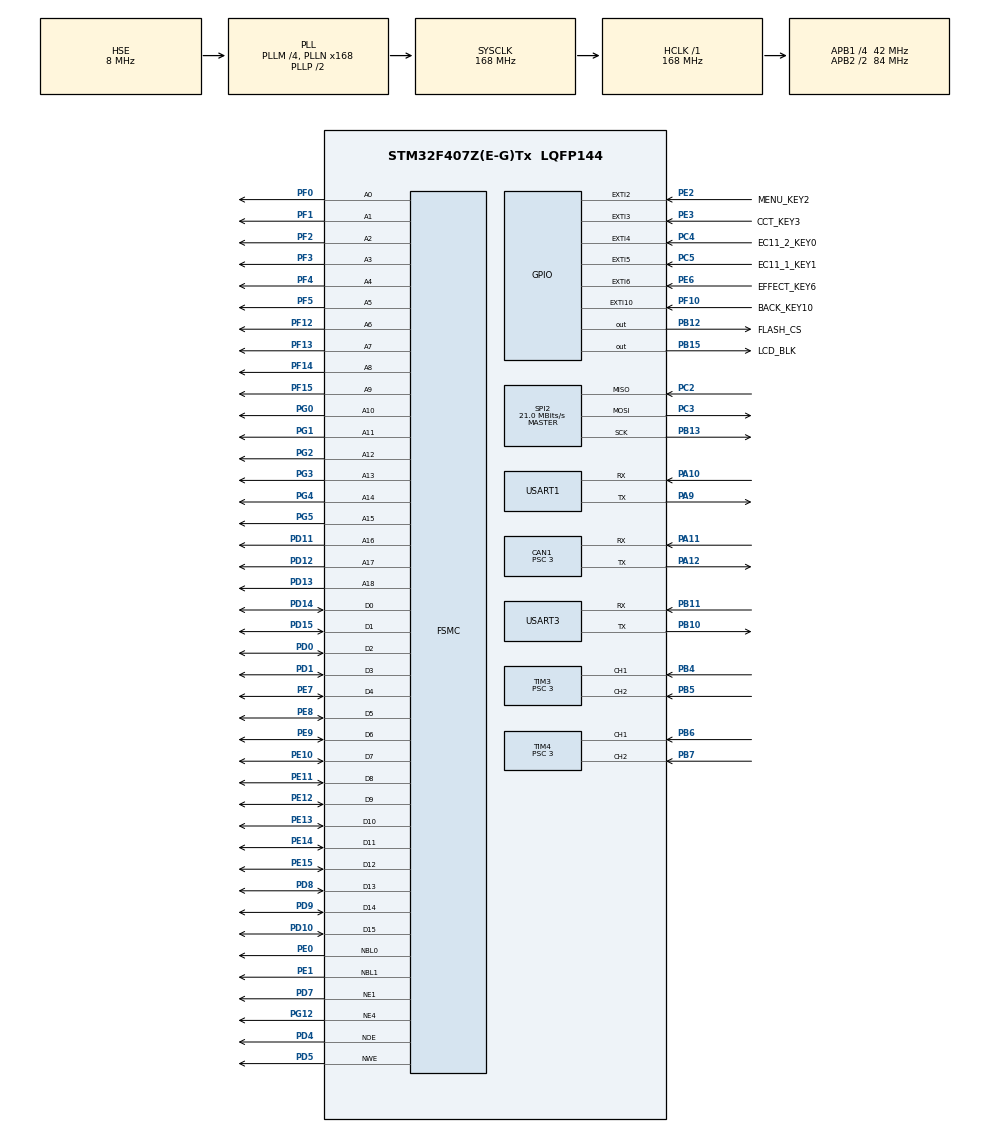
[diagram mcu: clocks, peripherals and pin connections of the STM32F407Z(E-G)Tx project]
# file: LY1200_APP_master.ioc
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CAN1.BS1=CAN_BS1_9TQ
CAN1.BS2=CAN_BS2_4TQ
CAN1.CalculateBaudRate=1000000
CAN1.CalculateTimeBit=1000
CAN1.CalculateTimeQuantum=71.42857142857143
CAN1.Mode=CAN_MODE_NORMAL
CAN1.Prescaler=3
Dma.Request0=USART3_RX
Dma.USART3_RX.0.Direction=DMA_PERIPH_TO_MEMORY
Dma.USART3_RX.0.FIFOMode=DMA_FIFOMODE_DISABLE
Dma.USART3_RX.0.Instance=DMA1_Stream1
Dma.USART3_RX.0.MemDataAlignment=DMA_MDATAALIGN_BYTE
Dma.USART3_RX.0.MemInc=DMA_MINC_ENABLE
Dma.USART3_RX.0.Mode=DMA_NORMAL
Dma.USART3_RX.0.PeriphDataAlignment=DMA_PDATAALIGN_BYTE
Dma.USART3_RX.0.PeriphInc=DMA_PINC_DISABLE
Dma.USART3_RX.0.Priority=DMA_PRIORITY_LOW
FREERTOS.Queues01=sysDataQueue_App,1,struct SYS_DATA,0,Dynamic,NULL,NULL;xQueueLCD,16,_st_lcd,0,Dynamic,NULL,NULL;boxInputQueue,2,struct BOX_INPUT,0,Dynamic,NULL,NULL
FREERTOS.Tasks01=defaultTask,32,128,StartDefaultTask,Default,NULL,Dynamic,NULL,NULL;cctTask,16,128,cctTask_Entry_App,Default,NULL,Dynamic,NULL,NULL;canTask,24,128,canTask_Entry,Default,NULL,Dynamic,NULL,NULL;lightEffectTask,16,128,lightEffectTask_Entry,Default,NULL,Dynamic,NULL,NULL;menuTask,16,256,menuTask_Entry,Default,NULL,Dynamic,NULL,NULL;GUI_Task,8,4096,TouchGFX_Task,As external,NULL,Dynamic,NULL,NULL;lcdTransferTask,16,256,lcdTransferTask_Entry,Default,NULL,Dynamic,NULL,NULL;inputTask,16,128,inputTask_Entry,Default,NULL,Dynamic,NULL,NULL;testTask,16,128,testTask_Entry,Default,NULL,Dynamic,NULL,NULL;wirelessTask,16,128,wirelessTask_Entry,Default,NULL,Dynamic,NULL,NULL
FREERTOS.configENABLE_FPU=1
FREERTOS.configTOTAL_HEAP_SIZE=65535
FREERTOS.configUSE_APPLICATION_TASK_TAG=1
FSMC.AddressSetupTime2=2
FSMC.BusTurnAroundDuration1=0
FSMC.BusTurnAroundDuration2=0
FSMC.DataSetupTime1=60
FSMC.DataSetupTime2=8
FSMC.ExtendedAddressSetupTime1=6
FSMC.ExtendedBusTurnAroundDuration1=0
FSMC.ExtendedDataSetupTime1=6
FSMC.ExtendedMode1=FSMC_EXTENDED_MODE_ENABLE
FSMC.ExtendedMode2=FSMC_EXTENDED_MODE_DISABLE
FSMC.WriteOperation2=FSMC_WRITE_OPERATION_ENABLE
Mcu.Family=STM32F4
Mcu.Name=STM32F407Z(E-G)Tx
Mcu.Package=LQFP144
NVIC.CAN1_RX0_IRQn=true\:5\:0\:true\:false\:true\:true\:true\:true\:true
NVIC.DMA1_Stream1_IRQn=true\:3\:0\:true\:false\:true\:false\:false\:true\:true
NVIC.EXTI15_10_IRQn=true\:6\:0\:true\:false\:true\:true\:true\:true\:true
NVIC.EXTI2_IRQn=true\:6\:0\:true\:false\:true\:true\:true\:true\:true
NVIC.EXTI3_IRQn=true\:6\:0\:true\:false\:true\:true\:true\:true\:true
NVIC.EXTI4_IRQn=true\:6\:0\:true\:false\:true\:true\:true\:true\:true
NVIC.EXTI9_5_IRQn=true\:6\:0\:true\:false\:true\:true\:true\:true\:true
NVIC.PriorityGroup=NVIC_PRIORITYGROUP_4
NVIC.RCC_IRQn=true\:5\:0\:false\:false\:true\:true\:true\:false\:true
NVIC.TIM2_IRQn=true\:5\:0\:false\:false\:true\:true\:true\:true\:true
NVIC.TIM3_IRQn=true\:5\:0\:false\:false\:true\:true\:true\:true\:true
NVIC.TIM4_IRQn=true\:5\:0\:false\:false\:true\:true\:true\:true\:true
NVIC.TIM8_TRG_COM_TIM14_IRQn=true\:15\:0\:false\:false\:true\:false\:false\:true\:true
NVIC.TimeBase=TIM8_TRG_COM_TIM14_IRQn
NVIC.TimeBaseIP=TIM14
NVIC.USART3_IRQn=true\:3\:0\:true\:false\:true\:false\:true\:true\:true
PA10.GPIO_PuPd=GPIO_PULLUP
PA10.Mode=Asynchronous
PA10.Signal=USART1_RX
PA11.Mode=CAN_Activate
PA11.Signal=CAN1_RX
PA12.Mode=CAN_Activate
PA12.Signal=CAN1_TX
PA13.Mode=Serial_Wire
PA13.Signal=SYS_JTMS-SWDIO
PA14.Mode=Serial_Wire
PA14.Signal=SYS_JTCK-SWCLK
PA9.GPIO_PuPd=GPIO_PULLUP
PA9.Mode=Asynchronous
PA9.Signal=USART1_TX
PB10.Mode=Asynchronous
PB10.Signal=USART3_TX
PB11.Mode=Asynchronous
PB11.Signal=USART3_RX
PB12.GPIO_Label=FLASH_CS
PB12.GPIO_ModeDefaultOutputPP=GPIO_MODE_OUTPUT_PP
PB12.GPIO_PuPd=GPIO_NOPULL
PB12.PinState=GPIO_PIN_SET
PB12.Signal=GPIO_Output
PB13.Mode=Full_Duplex_Master
PB13.Signal=SPI2_SCK
PB15.GPIO_Label=LCD_BLK
PB15.GPIO_ModeDefaultOutputPP=GPIO_MODE_OUTPUT_PP
PB15.GPIO_PuPd=GPIO_NOPULL
PB15.PinState=GPIO_PIN_RESET
PB15.Signal=GPIO_Output
PB4.Signal=S_TIM3_CH1
PB5.Signal=S_TIM3_CH2
PB6.GPIO_ModeDefaultPP=GPIO_MODE_AF_PP
PB6.GPIO_PuPd=GPIO_NOPULL
PB6.Signal=S_TIM4_CH1
PB7.GPIO_PuPd=GPIO_NOPULL
PB7.Signal=S_TIM4_CH2
PC14-OSC32_IN.Mode=LSE-External-Clock-Source
PC14-OSC32_IN.Signal=RCC_OSC32_IN
PC15-OSC32_OUT.Mode=LSE-External-Clock-Source
PC15-OSC32_OUT.Signal=RCC_OSC32_OUT
PC2.Mode=Full_Duplex_Master
PC2.Signal=SPI2_MISO
PC3.Mode=Full_Duplex_Master
PC3.Signal=SPI2_MOSI
PC4.GPIO_Label=EC11_2_KEY0
PC4.GPIO_ModeDefaultEXTI=GPIO_MODE_IT_FALLING
PC4.GPIO_PuPd=GPIO_PULLUP
PC4.Signal=GPXTI4
PC5.GPIO_Label=EC11_1_KEY1
PC5.GPIO_ModeDefaultEXTI=GPIO_MODE_IT_FALLING
PC5.GPIO_PuPd=GPIO_PULLUP
PC5.Signal=GPXTI5
PD0.Signal=FSMC_D2_DA2
PD1.Signal=FSMC_D3_DA3
PD10.Signal=FSMC_D15_DA15
PD11.Signal=FSMC_A16_CLE
PD12.Signal=FSMC_A17_ALE
PD13.Signal=FSMC_A18
PD14.Signal=FSMC_D0_DA0
PD15.Signal=FSMC_D1_DA1
PD4.Signal=FSMC_NOE
PD5.Signal=FSMC_NWE
PD7.Mode=NorPsramChipSelect1_2
PD7.Signal=FSMC_NE1
PD8.Signal=FSMC_D13_DA13
PD9.Signal=FSMC_D14_DA14
PE0.Signal=FSMC_NBL0
PE1.Signal=FSMC_NBL1
PE10.Signal=FSMC_D7_DA7
PE11.Signal=FSMC_D8_DA8
PE12.Signal=FSMC_D9_DA9
PE13.Signal=FSMC_D10_DA10
PE14.Signal=FSMC_D11_DA11
PE15.Signal=FSMC_D12_DA12
PE2.GPIO_Label=MENU_KEY2
PE2.GPIO_PuPd=GPIO_PULLUP
PE2.Signal=GPXTI2
PE3.GPIO_Label=CCT_KEY3
PE3.GPIO_PuPd=GPIO_PULLUP
PE3.Signal=GPXTI3
PE6.GPIO_Label=EFFECT_KEY6
PE6.GPIO_PuPd=GPIO_PULLUP
PE6.Signal=GPXTI6
PE7.Signal=FSMC_D4_DA4
PE8.Signal=FSMC_D5_DA5
PE9.Signal=FSMC_D6_DA6
PF0.Signal=FSMC_A0
PF1.Signal=FSMC_A1
PF10.GPIO_Label=BACK_KEY10
PF10.GPIO_PuPd=GPIO_PULLUP
PF10.Signal=GPXTI10
PF12.Signal=FSMC_A6
PF13.Signal=FSMC_A7
PF14.Signal=FSMC_A8
PF15.Signal=FSMC_A9
PF2.Signal=FSMC_A2
PF3.Signal=FSMC_A3
PF4.Signal=FSMC_A4
PF5.Signal=FSMC_A5
PG0.Signal=FSMC_A10
PG1.Signal=FSMC_A11
PG12.Mode=NorPsramChipSelect4_1
PG12.Signal=FSMC_NE4
PG2.Signal=FSMC_A12
PG3.Signal=FSMC_A13
PG4.Signal=FSMC_A14
PG5.Signal=FSMC_A15
PH0-OSC_IN.Mode=HSE-External-Oscillator
PH0-OSC_IN.Signal=RCC_OSC_IN
PH1-OSC_OUT.Mode=HSE-External-Oscillator
PH1-OSC_OUT.Signal=RCC_OSC_OUT
ProjectManager.HeapSize=0x1000
ProjectManager.StackSize=0x1000
ProjectManager.TargetToolchain=MDK-ARM V5.32
RCC.48MHZClocksFreq_Value=48000000
RCC.AHBFreq_Value=168000000
RCC.APB1CLKDivider=RCC_HCLK_DIV4
RCC.APB1Freq_Value=42000000
RCC.APB1TimFreq_Value=84000000
RCC.APB2CLKDivider=RCC_HCLK_DIV2
RCC.APB2Freq_Value=84000000
RCC.APB2TimFreq_Value=168000000
RCC.CortexFreq_Value=168000000
RCC.HCLKFreq_Value=168000000
RCC.HSE_VALUE=8000000
RCC.HSI_VALUE=16000000
RCC.LSE_VALUE=32768
RCC.PLLM=4
RCC.PLLN=168
RCC.PLLQ=7
RCC.PLLSourceVirtual=RCC_PLLSOURCE_HSE
RCC.SYSCLKFreq_VALUE=168000000
RCC.SYSCLKSource=RCC_SYSCLKSOURCE_PLLCLK
RCC.VCOOutputFreq_Value=336000000
SH.FSMC_A0.0=FSMC_A0,19b-a2
SH.FSMC_A1.0=FSMC_A1,19b-a2
SH.FSMC_A10.0=FSMC_A10,19b-a2
SH.FSMC_A11.0=FSMC_A11,19b-a2
SH.FSMC_A12.0=FSMC_A12,19b-a2
SH.FSMC_A13.0=FSMC_A13,19b-a2
SH.FSMC_A14.0=FSMC_A14,19b-a2
SH.FSMC_A15.0=FSMC_A15,19b-a2
SH.FSMC_A16_CLE.0=FSMC_A16,19b-a2
SH.FSMC_A17_ALE.0=FSMC_A17,19b-a2
SH.FSMC_A18.0=FSMC_A18,19b-a2
SH.FSMC_A2.0=FSMC_A2,19b-a2
SH.FSMC_A3.0=FSMC_A3,19b-a2
SH.FSMC_A4.0=FSMC_A4,19b-a2
SH.FSMC_A5.0=FSMC_A5,19b-a2
SH.FSMC_A6.0=FSMC_A6,A6_1
SH.FSMC_A6.1=FSMC_A6,19b-a2
SH.FSMC_A7.0=FSMC_A7,19b-a2
SH.FSMC_A8.0=FSMC_A8,19b-a2
SH.FSMC_A9.0=FSMC_A9,19b-a2
SH.FSMC_D0_DA0.0=FSMC_D0,16b-d1
SH.FSMC_D0_DA0.1=FSMC_D0,16b-d2
SH.FSMC_D10_DA10.0=FSMC_D10,16b-d1
SH.FSMC_D10_DA10.1=FSMC_D10,16b-d2
SH.FSMC_D11_DA11.0=FSMC_D11,16b-d1
SH.FSMC_D11_DA11.1=FSMC_D11,16b-d2
SH.FSMC_D12_DA12.0=FSMC_D12,16b-d1
SH.FSMC_D12_DA12.1=FSMC_D12,16b-d2
SH.FSMC_D13_DA13.0=FSMC_D13,16b-d1
SH.FSMC_D13_DA13.1=FSMC_D13,16b-d2
SH.FSMC_D14_DA14.0=FSMC_D14,16b-d1
SH.FSMC_D14_DA14.1=FSMC_D14,16b-d2
SH.FSMC_D15_DA15.0=FSMC_D15,16b-d1
SH.FSMC_D15_DA15.1=FSMC_D15,16b-d2
SH.FSMC_D1_DA1.0=FSMC_D1,16b-d1
SH.FSMC_D1_DA1.1=FSMC_D1,16b-d2
SH.FSMC_D2_DA2.0=FSMC_D2,16b-d1
SH.FSMC_D2_DA2.1=FSMC_D2,16b-d2
SH.FSMC_D3_DA3.0=FSMC_D3,16b-d1
SH.FSMC_D3_DA3.1=FSMC_D3,16b-d2
SH.FSMC_D4_DA4.0=FSMC_D4,16b-d1
SH.FSMC_D4_DA4.1=FSMC_D4,16b-d2
SH.FSMC_D5_DA5.0=FSMC_D5,16b-d1
SH.FSMC_D5_DA5.1=FSMC_D5,16b-d2
SH.FSMC_D6_DA6.0=FSMC_D6,16b-d1
SH.FSMC_D6_DA6.1=FSMC_D6,16b-d2
SH.FSMC_D7_DA7.0=FSMC_D7,16b-d1
SH.FSMC_D7_DA7.1=FSMC_D7,16b-d2
SH.FSMC_D8_DA8.0=FSMC_D8,16b-d1
SH.FSMC_D8_DA8.1=FSMC_D8,16b-d2
SH.FSMC_D9_DA9.0=FSMC_D9,16b-d1
SH.FSMC_D9_DA9.1=FSMC_D9,16b-d2
SH.FSMC_NBL0.0=FSMC_NBL0,2ByteEnable2
SH.FSMC_NBL1.0=FSMC_NBL1,2ByteEnable2
SH.FSMC_NOE.0=FSMC_NOE,Lcd1
SH.FSMC_NOE.1=FSMC_NOE,Sram2
SH.FSMC_NWE.0=FSMC_NWE,Lcd1
SH.FSMC_NWE.1=FSMC_NWE,Sram2
SH.S_TIM3_CH1.0=TIM3_CH1,Encoder_Interface
SH.S_TIM3_CH2.0=TIM3_CH2,Encoder_Interface
SH.S_TIM4_CH1.0=TIM4_CH1,Encoder_Interface
SH.S_TIM4_CH2.0=TIM4_CH2,Encoder_Interface
SPI2.BaudRatePrescaler=SPI_BAUDRATEPRESCALER_2
SPI2.CalculateBaudRate=21.0 MBits/s
SPI2.Direction=SPI_DIRECTION_2LINES
SPI2.Mode=SPI_MODE_MASTER
SPI2.VirtualType=VM_MASTER
STMicroelectronics.X-CUBE-TOUCHGFX.4.21.1.ApplicationCcGraphicsJjApplication=TouchGFXOoGenerator
STMicroelectronics.X-CUBE-TOUCHGFX.4.21.1.tgfx_address1=0x60000000
STMicroelectronics.X-CUBE-TOUCHGFX.4.21.1.tgfx_block_size=30720
STMicroelectronics.X-CUBE-TOUCHGFX.4.21.1.tgfx_buffering_strategy=Single
STMicroelectronics.X-CUBE-TOUCHGFX.4.21.1.tgfx_custom_height=320
STMicroelectronics.X-CUBE-TOUCHGFX.4.21.1.tgfx_custom_width=480
STMicroelectronics.X-CUBE-TOUCHGFX.4.21.1.tgfx_display_interface=disp_fmc
STMicroelectronics.X-CUBE-TOUCHGFX.4.21.1.tgfx_location=By Address
STMicroelectronics.X-CUBE-TOUCHGFX.4.21.1.tgfx_number_of_blocks=1
STMicroelectronics.X-CUBE-TOUCHGFX.4.21.1.tgfx_vector_rendering=Enabled
STMicroelectronics.X-CUBE-TOUCHGFX.4.21.1_IsPackSelfContextualization=true
TIM2.Period=7000-1
TIM2.Prescaler=200-1
TIM3.EncoderMode=TIM_ENCODERMODE_TI12
TIM3.Prescaler=3
TIM4.AutoReloadPreload=TIM_AUTORELOAD_PRELOAD_DISABLE
TIM4.EncoderMode=TIM_ENCODERMODE_TI12
TIM4.IC1Polarity=TIM_ICPOLARITY_RISING
TIM4.IC2Polarity=TIM_ICPOLARITY_RISING
TIM4.Prescaler=3
USART1.VirtualMode=VM_ASYNC
USART3.VirtualMode=VM_ASYNC
VP_CRC_VS_CRC.Mode=CRC_Activate
VP_FREERTOS_VS_CMSIS_V2.Mode=CMSIS_V2
VP_RNG_VS_RNG.Mode=RNG_Activate
VP_STMicroelectronics.X-CUBE-TOUCHGFX_VS_GraphicsJjApplication_4.21.1.Mode=GraphicsJjApplication
VP_SYS_VS_tim14.Mode=TIM14
VP_TIM2_VS_ClockSourceINT.Mode=Internal
board=custom

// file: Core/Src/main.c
/* USER CODE BEGIN Header */
/**
  ******************************************************************************
  * @file           : main.c
  * @brief          : Main program body
  ******************************************************************************
  * @attention
  *
  * Copyright (c) 2023 STMicroelectronics.
  * All rights reserved.
  *
  * This software is licensed under terms that can be found in the LICENSE file
  * in the root directory of this software component.
  * If no LICENSE file comes with this software, it is provided AS-IS.
  *
  ******************************************************************************
  */
/* USER CODE END Header */
#include "main.h"
#include "cmsis_os.h"
#include "can.h"
#include "crc.h"
#include "dma.h"
#include "rng.h"
#include "spi.h"
#include "tim.h"
#include "usart.h"
#include "gpio.h"
#include "fsmc.h"
#include "app_touchgfx.h"

/* USER CODE BEGIN Includes */
#include "system_data.h"
#include <stdio.h>
#include "bsp.h"

/* USER CODE END Includes */

void SystemClock_Config(void);
void MX_FREERTOS_Init(void);
/* USER CODE BEGIN PFP */
uint8_t init_alloc_heap();
volatile void soft_Delay(uint32_t time_i);
/* USER CODE END PFP */

/* USER CODE BEGIN 0 */
uint8_t SRAM_Init()
{
		uint8_t *externalRAM = 0x60000000;
		const uint32_t size = 1*1024*1024;

		//write external RAM
		for(uint32_t j = 0; j < size; j++)
		{
				externalRAM[j] = 0xFF;
		}
}
/* USER CODE END 0 */

int main(void)
{
  /* USER CODE BEGIN 1 */
  //init_alloc_heap();
  /* USER CODE END 1 */

  /* MCU Configuration--------------------------------------------------------*/

  /* Reset of all peripherals, Initializes the Flash interface and the Systick. */
  HAL_Init();

  /* USER CODE BEGIN Init */
	//uint16_t* framebuffer = (uint16_t*)0x60000000;  //16 bpp framebuffer

  /* USER CODE END Init */

  /* Configure the system clock */
  SystemClock_Config();

  /* Initialize all configured peripherals */
  MX_GPIO_Init();
  MX_DMA_Init();
  MX_CAN1_Init();
  MX_FSMC_Init();
  MX_CRC_Init();
  MX_TIM2_Init();
  MX_RNG_Init();
  MX_TIM4_Init();
  MX_TIM3_Init();
  MX_SPI2_Init();
  MX_USART3_UART_Init();
  MX_USART1_UART_Init();
  MX_TouchGFX_Init();
  /* Call PreOsInit function */
  MX_TouchGFX_PreOSInit();
  /* USER CODE BEGIN 2 */

  LCD_Init();
	BSP_W25Qx_Init();
	esp32c3_Init();

		/* 初始化 EventRecorder 并开启 */
	EventRecorderInitialize(EventRecordAll, 1U);
	EventRecorderStart();

  /* USER CODE END 2 */

  /* Init scheduler */
  osKernelInitialize();  /* Call init function for freertos objects (in freertos.c) */
  MX_FREERTOS_Init();

  /* Start scheduler */
  osKernelStart();
  /* We should never get here as control is now taken by the scheduler */
  /* Infinite loop */
  while (1)
  {

  }
}

void SystemClock_Config(void)
{
  RCC_OscInitTypeDef RCC_OscInitStruct = {0};
  RCC_ClkInitTypeDef RCC_ClkInitStruct = {0};

  /** Configure the main internal regulator output voltage
  */
  __HAL_RCC_PWR_CLK_ENABLE();
  __HAL_PWR_VOLTAGESCALING_CONFIG(PWR_REGULATOR_VOLTAGE_SCALE1);

  /** Initializes the RCC Oscillators according to the specified parameters
  * in the RCC_OscInitTypeDef structure.
  */
  RCC_OscInitStruct.OscillatorType = RCC_OSCILLATORTYPE_HSE;
  RCC_OscInitStruct.HSEState = RCC_HSE_ON;
  RCC_OscInitStruct.PLL.PLLState = RCC_PLL_ON;
  RCC_OscInitStruct.PLL.PLLSource = RCC_PLLSOURCE_HSE;
  RCC_OscInitStruct.PLL.PLLM = 4;
  RCC_OscInitStruct.PLL.PLLN = 168;
  RCC_OscInitStruct.PLL.PLLP = RCC_PLLP_DIV2;
  RCC_OscInitStruct.PLL.PLLQ = 7;
  if (HAL_RCC_OscConfig(&RCC_OscInitStruct) != HAL_OK)
  {
    Error_Handler();
  }

  /** Initializes the CPU, AHB and APB buses clocks
  */
  RCC_ClkInitStruct.ClockType = RCC_CLOCKTYPE_HCLK|RCC_CLOCKTYPE_SYSCLK
                              |RCC_CLOCKTYPE_PCLK1|RCC_CLOCKTYPE_PCLK2;
  RCC_ClkInitStruct.SYSCLKSource = RCC_SYSCLKSOURCE_PLLCLK;
  RCC_ClkInitStruct.AHBCLKDivider = RCC_SYSCLK_DIV1;
  RCC_ClkInitStruct.APB1CLKDivider = RCC_HCLK_DIV4;
  RCC_ClkInitStruct.APB2CLKDivider = RCC_HCLK_DIV2;

  if (HAL_RCC_ClockConfig(&RCC_ClkInitStruct, FLASH_LATENCY_5) != HAL_OK)
  {
    Error_Handler();
  }
}

/* USER CODE BEGIN 4 */
uint8_t init_alloc_heap()
{
		#define HEAP_BASE 0x60000000
		#define HEAP_SIZE 0x00000010
		#define HEAP_END  HEAP_BASE+HEAP_SIZE
		_init_alloc(HEAP_BASE,HEAP_END);
}

volatile void soft_Delay(uint32_t time_ms)
{
	uint16_t i = 0;
	while(time_ms--)
	{
			i = 41750;
			while(i--);
	}
}
/* USER CODE END 4 */

void HAL_TIM_PeriodElapsedCallback(TIM_HandleTypeDef *htim)
{
  if (htim->Instance == TIM14) {
    HAL_IncTick();
  }
  /* USER CODE BEGIN Callback 1 */
	if (htim->Instance == TIM2) {
    TouchGFX_signalVSync_manual();
  }
  /* USER CODE END Callback 1 */
}

void Error_Handler(void)
{
  __disable_irq();
  while (1)
  {
  }
}

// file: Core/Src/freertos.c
/* USER CODE BEGIN Header */
/**
  ******************************************************************************
  * File Name          : freertos.c
  * Description        : Code for freertos applications
  ******************************************************************************
  * @attention
  *
  * Copyright (c) 2023 STMicroelectronics.
  * All rights reserved.
  *
  * This software is licensed under terms that can be found in the LICENSE file
  * in the root directory of this software component.
  * If no LICENSE file comes with this software, it is provided AS-IS.
  *
  ******************************************************************************
  */
/* USER CODE END Header */

#include "FreeRTOS.h"
#include "task.h"
#include "main.h"
#include "cmsis_os.h"

/* USER CODE BEGIN Includes */
#include "system_data.h"
#include "algorithm_library.h"
#include "bsp.h"

#include "usart.h"

#include "cct.h"
#include "light_effect.h"

#include "app_touchgfx.h"
#include "TouchGFX_User.h"

#include "test_array.h"
#include "esp32c3.h"
/* USER CODE END Includes */

/* USER CODE BEGIN PM */
UBaseType_t test_info[10];
/* USER CODE END PM */

/* Definitions for defaultTask */
osThreadId_t defaultTaskHandle;
const osThreadAttr_t defaultTask_attributes = {
  .name = "defaultTask",
  .stack_size = 128 * 4,
  .priority = (osPriority_t) osPriorityAboveNormal,
};
/* Definitions for cctTask */
osThreadId_t cctTaskHandle;
const osThreadAttr_t cctTask_attributes = {
  .name = "cctTask",
  .stack_size = 128 * 4,
  .priority = (osPriority_t) osPriorityBelowNormal,
};
/* Definitions for canTask */
osThreadId_t canTaskHandle;
const osThreadAttr_t canTask_attributes = {
  .name = "canTask",
  .stack_size = 128 * 4,
  .priority = (osPriority_t) osPriorityNormal,
};
/* Definitions for lightEffectTask */
osThreadId_t lightEffectTaskHandle;
const osThreadAttr_t lightEffectTask_attributes = {
  .name = "lightEffectTask",
  .stack_size = 128 * 4,
  .priority = (osPriority_t) osPriorityBelowNormal,
};
/* Definitions for menuTask */
osThreadId_t menuTaskHandle;
const osThreadAttr_t menuTask_attributes = {
  .name = "menuTask",
  .stack_size = 256 * 4,
  .priority = (osPriority_t) osPriorityBelowNormal,
};
/* Definitions for GUI_Task */
osThreadId_t GUI_TaskHandle;
const osThreadAttr_t GUI_Task_attributes = {
  .name = "GUI_Task",
  .stack_size = 4096 * 4,
  .priority = (osPriority_t) osPriorityLow,
};
/* Definitions for lcdTransferTask */
osThreadId_t lcdTransferTaskHandle;
const osThreadAttr_t lcdTransferTask_attributes = {
  .name = "lcdTransferTask",
  .stack_size = 256 * 4,
  .priority = (osPriority_t) osPriorityBelowNormal,
};
/* Definitions for inputTask */
osThreadId_t inputTaskHandle;
const osThreadAttr_t inputTask_attributes = {
  .name = "inputTask",
  .stack_size = 128 * 4,
  .priority = (osPriority_t) osPriorityBelowNormal,
};
/* Definitions for testTask */
osThreadId_t testTaskHandle;
const osThreadAttr_t testTask_attributes = {
  .name = "testTask",
  .stack_size = 128 * 4,
  .priority = (osPriority_t) osPriorityBelowNormal,
};
/* Definitions for wirelessTask */
osThreadId_t wirelessTaskHandle;
const osThreadAttr_t wirelessTask_attributes = {
  .name = "wirelessTask",
  .stack_size = 128 * 4,
  .priority = (osPriority_t) osPriorityBelowNormal,
};
/* Definitions for sysDataQueue_App */
osMessageQueueId_t sysDataQueue_AppHandle;
const osMessageQueueAttr_t sysDataQueue_App_attributes = {
  .name = "sysDataQueue_App"
};
/* Definitions for xQueueLCD */
osMessageQueueId_t xQueueLCDHandle;
const osMessageQueueAttr_t xQueueLCD_attributes = {
  .name = "xQueueLCD"
};
/* Definitions for boxInputQueue */
osMessageQueueId_t boxInputQueueHandle;
const osMessageQueueAttr_t boxInputQueue_attributes = {
  .name = "boxInputQueue"
};

void StartDefaultTask(void *argument);
void cctTask_Entry_App(void *argument);
void canTask_Entry(void *argument);
void lightEffectTask_Entry(void *argument);
void menuTask_Entry(void *argument);
extern void TouchGFX_Task(void *argument);
void lcdTransferTask_Entry(void *argument);
void inputTask_Entry(void *argument);
void testTask_Entry(void *argument);
void wirelessTask_Entry(void *argument);

void MX_FREERTOS_Init(void); /* (MISRA C 2004 rule 8.1) */

void MX_FREERTOS_Init(void) {

  /* Create the queue(s) */
  /* creation of sysDataQueue_App */
  sysDataQueue_AppHandle = osMessageQueueNew (1, sizeof(struct SYS_DATA), &sysDataQueue_App_attributes);

  /* creation of xQueueLCD */
  xQueueLCDHandle = osMessageQueueNew (16, sizeof(_st_lcd), &xQueueLCD_attributes);

  /* creation of boxInputQueue */
  boxInputQueueHandle = osMessageQueueNew (2, sizeof(struct BOX_INPUT), &boxInputQueue_attributes);

  /* Create the thread(s) */
  /* creation of defaultTask */
  defaultTaskHandle = osThreadNew(StartDefaultTask, NULL, &defaultTask_attributes);

  /* creation of cctTask */
  cctTaskHandle = osThreadNew(cctTask_Entry_App, NULL, &cctTask_attributes);

  /* creation of canTask */
  canTaskHandle = osThreadNew(canTask_Entry, NULL, &canTask_attributes);

  /* creation of lightEffectTask */
  lightEffectTaskHandle = osThreadNew(lightEffectTask_Entry, NULL, &lightEffectTask_attributes);

  /* creation of menuTask */
  menuTaskHandle = osThreadNew(menuTask_Entry, NULL, &menuTask_attributes);

  /* creation of GUI_Task */
  GUI_TaskHandle = osThreadNew(TouchGFX_Task, NULL, &GUI_Task_attributes);

  /* creation of lcdTransferTask */
  lcdTransferTaskHandle = osThreadNew(lcdTransferTask_Entry, NULL, &lcdTransferTask_attributes);

  /* creation of inputTask */
  inputTaskHandle = osThreadNew(inputTask_Entry, NULL, &inputTask_attributes);

  /* creation of testTask */
  testTaskHandle = osThreadNew(testTask_Entry, NULL, &testTask_attributes);

  /* creation of wirelessTask */
  wirelessTaskHandle = osThreadNew(wirelessTask_Entry, NULL, &wirelessTask_attributes);

}

void StartDefaultTask(void *argument)
{
  /* USER CODE BEGIN StartDefaultTask */
  /* Infinite loop */

  /* Input Data : sys_Data_getQueue.cct_Parament
   * Onput Data :
                   */

  struct SYS_DATA sys_Data_getQueue={

  };
	struct BOX_INPUT box_Data_getQueue={

	};

  //初始化系统参�??
  if(system_Data_Init()==osOK)
  {
    //系统参数初始化成�??

  }
  else
  {
    //系统参数初始化失�??

  }

  for(;;)
  {
    //获取消息
    if(osMessageQueueGet(sysDataQueue_AppHandle, (void *)&sys_Data_getQueue,NULL,portMAX_DELAY)==osOK)
    { //获取消息成功

    }
    else
    { //获取消息失败

    }

    //放入消息
    if(osMessageQueuePut(sysDataQueue_AppHandle, &sys_Data_getQueue,0,portMAX_DELAY)==osOK)
    { //放入消息成功

    }
    else
    { //放入消息失败

    }

				//获取消息
    if(osMessageQueueGet(boxInputQueueHandle, (void *)&box_Data_getQueue,NULL,portMAX_DELAY)==osOK)
    { //获取消息成功

    }
    else
    { //获取消息失败

    }

    //放入消息
    if(osMessageQueuePut(boxInputQueueHandle, &box_Data_getQueue,0,portMAX_DELAY)==osOK)
    { //放入消息成功

    }
    else
    { //放入消息失败

    }

    HAL_Delay(100);//硬延时等�??100ms 系统初始�??

    //while(osThreadTerminate(defaultTaskHandle)!=osOK);//终止StartDefaultTask线程

		test_info[0] = uxTaskGetStackHighWaterMark(NULL);

		osThreadExit();

    osDelay(1);
  }
  /* USER CODE END StartDefaultTask */
}

void cctTask_Entry_App(void *argument)
{
  /* USER CODE BEGIN cctTask_Entry_App */
  /* Infinite loop */

  /* Input Data : sys_Data_getQueue.cct_Parament
   * Onput Data : sys_Data_getQueue.cct_Parament.cold_Percentage
                  sys_Data_getQueue.cct_Parament.cold_Percentage */

   struct SYS_DATA sys_Data_getQueue={
    .cct_Parament={ 0, 4600, S_CURVE, 0, 0}
  };

  for(;;)
  {
    //获取消息
    if(osMessageQueueGet(sysDataQueue_AppHandle, (void *)&sys_Data_getQueue,NULL,portMAX_DELAY)==osOK)
    { //获取消息成功
      if(sys_Data_getQueue.model_Parament == CCT)
      {
        if(sys_Data_getQueue.cct_Parament.cct_Update_Flag == FLAG_TRUE)
        {
          //运行 cct_User 将输入的亮度和色温计算为应输出的冷暖两通道比例
          cct_User(&(sys_Data_getQueue.cct_Parament),&(sys_Data_getQueue.cct_Parament.cold_Percentage), &(sys_Data_getQueue.cct_Parament.warm_Percentage));
          //清除CCT参数更新标志位
					sys_Data_getQueue.driver_Parament.drive_State_Update = driverUPDATE;
          sys_Data_getQueue.cct_Parament.cct_Update_Flag = FLAG_FALSE;
        }

      }
    }

    //放入消息
    if(osMessageQueuePut(sysDataQueue_AppHandle, &sys_Data_getQueue,0,portMAX_DELAY)==osOK)
    { //放入消息成功

    }

		test_info[1] = uxTaskGetStackHighWaterMark(NULL);

    osDelay(1);
  }
  /* USER CODE END cctTask_Entry_App */
}

void canTask_Entry(void *argument)
{
  /* USER CODE BEGIN canTask_Entry */
  /* Infinite loop */
  struct SYS_DATA sys_Data_getQueue={
    .cct_Parament={ 0, 4600, S_CURVE, 0, 0},
    .driver_Parament={ driverTRUE, 0x88},
    .fan_Parament=0,
  };

  #define DRIVER_TXDATA_LENGTH 16//驱动板发送数据长�??
  uint8_t driver_TxData[DRIVER_TXDATA_LENGTH]={0};//驱动板发送数据缓�??

  for(;;)
  {
    //获取消息
    if(osMessageQueueGet(sysDataQueue_AppHandle, (void *)&sys_Data_getQueue,NULL,portMAX_DELAY)==osOK)
    { //获取消息成功
      if(sys_Data_getQueue.driver_Parament.drive_State_Update == driverUPDATE)
      {
        //按照与驱动板协议，将驱动�??�??数据进行CAN格式化编�??
        switch (sys_Data_getQueue.model_Parament)
        {
          case CCT:{
            /* code */
            driver_Data_Format(sys_Data_getQueue.driver_Parament.drive_Switch,sys_Data_getQueue.cct_Parament.cold_Percentage,sys_Data_getQueue.cct_Parament.warm_Percentage,sys_Data_getQueue.fan_Parament.fan_Ratio,driver_TxData);
          }break;

        case LIGHT_EFFECTS:{
            /* code */
            driver_Data_Format(sys_Data_getQueue.driver_Parament.drive_Switch,sys_Data_getQueue.LE_Parament.cold_Percentage,sys_Data_getQueue.LE_Parament.warm_Percentage,sys_Data_getQueue.fan_Parament.fan_Ratio,driver_TxData);
          }break;

          default:
            break;
        }
				//打印输出冷暖比例 测试后删除
				//printf("%f, %f\n",sys_Data_getQueue.LE_Parament.cold_Percentage,sys_Data_getQueue.LE_Parament.warm_Percentage);
        //将CAN发�?�数组中的数据进行发�??
        can_Tx_User(driver_TxData, DRIVER_TXDATA_LENGTH);
        sys_Data_getQueue.driver_Parament.drive_State_Update = driverSLEEP;

				//text code!!!
				uint8_t uart_test[4]={0,0,0,0};
				uart_test[0]=0xEE;
				if(sys_Data_getQueue.model_Parament == CCT) uart_test[1]=(uint8_t)(sys_Data_getQueue.cct_Parament.cold_Percentage * 100);
				else uart_test[1]=(uint8_t)(sys_Data_getQueue.LE_Parament.cold_Percentage * 100);
				uart_test[2]=0xFF;
				if(sys_Data_getQueue.model_Parament == CCT) uart_test[3]=(uint8_t)(sys_Data_getQueue.cct_Parament.warm_Percentage * 100);
				else uart_test[3]=(uint8_t)(sys_Data_getQueue.LE_Parament.warm_Percentage * 100);
				HAL_UART_Transmit(&huart1, uart_test, 4, 1000);

      }
    }
    //放入消息
    if(osMessageQueuePut(sysDataQueue_AppHandle, &sys_Data_getQueue,0,portMAX_DELAY)==osOK)
    { //放入消息成功

    }

		test_info[2] = uxTaskGetStackHighWaterMark(NULL);

    osDelay(1);
  }
  /* USER CODE END canTask_Entry */
}

void lightEffectTask_Entry(void *argument)
{
  /* USER CODE BEGIN lightEffectTask_Entry */
  /* Infinite loop */

  /* Input Data : sys_Data_getQueue.LE_Parament
   * Onput Data : sys_Data_getQueue.LE_Parament.cold_Percentage
                  sys_Data_getQueue.LE_Parament.warm_Percentage */

   struct SYS_DATA sys_Data_getQueue={
    .LE_Parament={ FIRE, SETTING, 0, 4600, 5, 0, 0}//{类型，状态，亮度，色温，频率，冷通道结果，暖通道结果};
  };
	 struct SYS_DATA sys_Data_getQueue_Delete={
    .LE_Parament={ FIRE, SETTING, 0, 4600, 5, 0, 0}//{类型，状态，亮度，色温，频率，冷通道结果，暖通道结果};
  };

  for(;;)
  {
		EventStartA(1);
    //获取消息
    if(osMessageQueueGet(sysDataQueue_AppHandle, (void *)&sys_Data_getQueue,NULL,portMAX_DELAY)==osOK)
    { //获取消息成功
			//放入消息
			if(osMessageQueuePut(sysDataQueue_AppHandle, &sys_Data_getQueue,0,portMAX_DELAY)==osOK)
			{ //放入消息成功

			}
      if(sys_Data_getQueue.model_Parament == LIGHT_EFFECTS)
      {
        //运行 lighteffects_Type_Choose 将输入的特效参数计算为应输出的冷、暖两个通道比例
        lighteffects_Type_Choose(&sys_Data_getQueue.LE_Parament);
        //唤醒驱动板传输
        sys_Data_getQueue.driver_Parament.drive_State_Update = driverUPDATE;
				if(sys_Data_getQueue.LE_Parament.le_Update_Flag == FLAG_TRUE)
				{
        //清除接收到的更新标志位
					sys_Data_getQueue.LE_Parament.le_Update_Flag = FLAG_FALSE;
      }
      }

    }
    //放入消息
    if(osMessageQueueGet(sysDataQueue_AppHandle, (void *)&sys_Data_getQueue_Delete,NULL,portMAX_DELAY)==osOK)
    { //获取消息成功
		}
    //放入消息
    if(osMessageQueuePut(sysDataQueue_AppHandle, &sys_Data_getQueue,0,portMAX_DELAY)==osOK)
    { //放入消息成功

    }

		test_info[3] = uxTaskGetStackHighWaterMark(NULL);
		EventStopA(1);
    osDelay(1);

  }

  /* USER CODE END lightEffectTask_Entry */
}

void menuTask_Entry(void *argument)
{
  /* USER CODE BEGIN menuTask_Entry */

	struct SYS_DATA sys_Data_getQueue={

  };

  /* Infinite loop */
  for(;;)
  {
		//获取消息
    if(osMessageQueueGet(sysDataQueue_AppHandle, (void *)&sys_Data_getQueue,NULL,portMAX_DELAY)==osOK)
    { //获取消息成功

//			//对数值进行处�??
//			sys_Data_getQueue.cct_Parament.brightness+=(knob_Data1.variation)/1000.0;
//			sys_Data_getQueue.cct_Parament.color_Temperature+=(knob_Data2.variation)/1000.0;
    }

    //放入消息
    if(osMessageQueuePut(sysDataQueue_AppHandle, &sys_Data_getQueue,0,portMAX_DELAY)==osOK)
    { //放入消息成功

    }
		test_info[4] = uxTaskGetStackHighWaterMark(NULL);
    osDelay(1);
  }
  /* USER CODE END menuTask_Entry */
}

void lcdTransferTask_Entry(void *argument)
{
  /* USER CODE BEGIN lcdTransferTask_Entry */
  /* Infinite loop */
  for(;;)
  {
		//lcd_update();//将渲染的图像刷新到LCD屏幕�??

		test_info[5] = uxTaskGetStackHighWaterMark(NULL);

    osDelay(1);
  }
  /* USER CODE END lcdTransferTask_Entry */
}

void inputTask_Entry(void *argument)
{
  /* USER CODE BEGIN inputTask_Entry */

struct BOX_INPUT box_Data_getQueue={
			.key={
				.state=KEY_STATE_RESET,
				.value=NOKEY_VALUE,
				.clear_Flag = CLEAR_FLAG_OFF,
			},
			.knob1={
				.order_Number=FIRST,
				.direction=RIGHT,
				.variation=0,
				.mapping_Values=0,
				.key_State=KEY_STATE_RESET,
				.knob_State=KNOB_STATE_RESET,
				.clear_Flag=CLEAR_FLAG_OFF,
			},
			.knob2={
				.order_Number=SECOND,
				.direction=RIGHT,
				.variation=0,
				.mapping_Values=0,
				.key_State=KEY_STATE_RESET,
				.knob_State=KNOB_STATE_RESET,
				.clear_Flag=CLEAR_FLAG_OFF,
			},
	};

  /* Infinite loop */
  for(;;)
  {
		//获取消息
    if(osMessageQueueGet(boxInputQueueHandle, (void *)&box_Data_getQueue,NULL,portMAX_DELAY)==osOK)
    { //获取消息成功
      if(knob_Input(&(box_Data_getQueue.knob1), 15)==thisOK)
			{

			}
			if(knob_Input(&(box_Data_getQueue.knob2), 15)==thisOK)
			{

			}
			box_Data_getQueue.key = button_scanning(box_Data_getQueue.key.clear_Flag);
    }
    else
    { //获取消息失败

    }

    //放入消息
    if(osMessageQueuePut(boxInputQueueHandle, &box_Data_getQueue,0,portMAX_DELAY)==osOK)
    { //放入消息成功

    }
    else
    { //放入消息失败

    }
		test_info[6] = uxTaskGetStackHighWaterMark(NULL);
    osDelay(1);
  }
  /* USER CODE END inputTask_Entry */
}

void testTask_Entry(void *argument)
{
  /* USER CODE BEGIN testTask_Entry */
  /* Infinite loop */
  for(;;)
  {
		uint8_t i=0;
		uint8_t j=1;
		//printf("Event Recorder Test! \n");
//		EventStartG(0);
		EventStartA(0);
		//EventRecordItem
		//uint8_t i = USART3_DMA_Rx_Buffer[0];
		//测试spi flash
		//uint8_t ID_test[2]={0x01,0x02};
		//Receive_From_ESP32C3(ID_test, 2);
//		extern uint8_t rx_array[8];
//		Receive_From_ESP32C3(rx_array, sizeof(rx_array));
//		extern uint8_t rx_array[8];
//		extern UART_HandleTypeDef huart3;
//		extern DMA_HandleTypeDef hdma_usart3_rx;
//		extern DMA_HandleTypeDef hdma_usart3_tx;
//		HAL_UARTEx_ReceiveToIdle_DMA(&huart3,rx_array,sizeof(rx_array));
//		extern volatile uint8_t new_Frame_Flag;
//		if(new_Frame_Flag==1)
//		{
//			Transmit_To_ESP32C3(ID_test, sizeof(ID_test));
//
//			new_Frame_Flag=0;
//		}

//		if(Receive_From_ESP32C3(rx_array, sizeof(rx_array))==HAL_OK)
//		{
//			Transmit_To_ESP32C3(ID_test, sizeof(ID_test));
//		}

//		uint8_t rx[10];
		//BSP_W25Qx_Read_ID(ID_test);//读取ID

//		uint8_t aa = 0;
//		uint8_t iii=1;
//		if(iii<0) aa=test_array[1];

		//初始化写入数�?
//		for(uint16_t i=0;i<SECTOR_SIZE;i++)
//		{
//			tx[i]=i;
//		}

		//操作扇区
//		uint32_t j=0x00;
//		do
//		{
//			//擦除扇区
//			//BSP_W25Qx_Erase_Block(j);
//			//写扇�?
//			//BSP_W25Qx_Write(tx, j,sizeof(tx)/sizeof(tx[0]));
//			//读取扇区
//			BSP_W25Qx_Read(rx, j, sizeof(rx)/sizeof(rx[0]));
//
////			for(uint16_t k=0;k<SECTOR_SIZE;k++)
////			{
//////				if(rx[k]==(k%256))
//////				{
//////					//rx[k]=0;
//////				}
//////				else { flag=0xFF; break;}
////			}
//
//			j=j+SECTOR_SIZE;
//		}while(j<FLASH_SIZE);
//
//		volatile uint8_t testi;
//		testi=test_array[0];

//		BSP_W25Qx_Erase_Block(0x00);
//
//		BSP_W25Qx_Read(rx, 0x00, sizeof(rx)/sizeof(rx[0]));
//
//		for(uint16_t i=0;i<4*1024;i++)
//		{
//				tx[i]=i;
//
//		}
//
//		BSP_W25Qx_Write(tx, 0x00,sizeof(tx)/sizeof(tx[0]));
//
//		BSP_W25Qx_Read(rx, 0x00, sizeof(rx)/sizeof(rx[0]));

// //测试外置sram
//		uint8_t *externalRAM = 0x60000000;
//		const uint32_t size = 1*1024*1024;
//
//		uint8_t *bit_RAM = 0x6004B008;
//		uint8_t *frame_RAM = 0x60000000;
//
//		uint8_t test_ii;
//
//		//1.读取FLASH
//		BSP_W25Qx_Read((uint8_t *)0x6004B008, 0x00000000, 0x0003FC00);
//		//比对位图缓冲区与FLASH内容是否�?�?
//		for(uint32_t numBytes_i = 0;numBytes_i<0x0003FC00;numBytes_i++)
//		{
//			BSP_W25Qx_Read(&test_ii, numBytes_i, 1);
//			if(test_ii !=bit_RAM[numBytes_i])
//			{
//				break;
//			}
//		}
//
//		//2.将位图缓冲区数据写入至渲染区
//		for(uint32_t numBytes_i = 0;numBytes_i<0x0003FC00;numBytes_i++)
//		{
//			frame_RAM[numBytes_i]=bit_RAM[numBytes_i];
//		}
//		//3.比对位图缓冲区与FLASH内容是否�?�?
//		for(uint32_t numBytes_i = 0;numBytes_i<0x0003FC00;numBytes_i++)
//		{
//			BSP_W25Qx_Read(&test_ii, numBytes_i, 1);
//			if(test_ii !=bit_RAM[numBytes_i])
//			{
//				break;
//			}
//		}

		/*
		//外置sram存储全局变量 写入spiflash 测试 两个数组放全�?变量�?
//		__attribute__((section(".RAM3"))) uint8_t rx[4*1024]={1,1,1,1,1,1,1,1,1,1};
//		__attribute__((section(".RAM3"))) uint8_t tx[4*1024];
		uint8_t ID_test[2]={0};
//		uint8_t rx[10]={1,1,1,1,1,1,1,1,1,1};
		BSP_W25Qx_Read_ID(ID_test);//读取ID

		uint8_t aa = test_array[1];
		//读取扇区
	  BSP_W25Qx_Read(rx, 0x00, sizeof(rx)/sizeof(rx[0]));

		BSP_W25Qx_Erase_Block(0x00);

		BSP_W25Qx_Read(rx, 0x00, sizeof(rx)/sizeof(rx[0]));

		for(uint16_t i=0;i<4*1024;i++)
		{
				tx[i]=i;

		}

		BSP_W25Qx_Write(tx, 0x00,sizeof(tx)/sizeof(tx[0]));

		BSP_W25Qx_Read(rx, 0x00, sizeof(rx)/sizeof(rx[0]));
		*/

//		for (i = 1; i < 4096+1; i++)
//    {
//        g_test_buffer[i-1] = (i);         /* 预存测试数据 */
//    }

		test_info[7] = uxTaskGetStackHighWaterMark(NULL);
    osDelay(1);
		EventStopA(0);
  }
  /* USER CODE END testTask_Entry */
}

void wirelessTask_Entry(void *argument)
{
  /* USER CODE BEGIN wirelessTask_Entry */

	struct SYS_DATA sys_Data_getQueue={

  };

  /* Infinite loop */
  for(;;)
  {
		//获取消息
    if(osMessageQueueGet(sysDataQueue_AppHandle, (void *)&sys_Data_getQueue,NULL,portMAX_DELAY)==osOK)
    {//获取消息成功
			struct UARTEx_FRAME UART3_Frame_Local={
				.new_Frame_Flag=USART3_OLD_FRAME,
				.tx_Frame_Flag=HAL_OK,
				.frame_Length=0,
				.pData=0
			};
			UART3_Frame_Local=Receive_From_ESP32C3();
			if(USART3_NEW_FRAME==UART3_Frame_Local.new_Frame_Flag)
			{//新一帧接收成功
				//发送接收到的数据
				BleService(UART3_Frame_Local.pData, UART3_Frame_Local.frame_Length ,&sys_Data_getQueue);
				//Transmit_To_ESP32C3(UART3_Frame_Local.pData, UART3_Frame_Local.frame_Length);
				//清除接收标志
				//UART3_Frame_Local=clear_UARTx_Frame();
				if(USART3_OLD_FRAME==UART3_Frame_Local.new_Frame_Flag)
				{//清除接收标志成功

				}
				else
				{//清除接收标志失败

				}
			}
			else
			{//新一帧接收失败 或 无新数据
				 //Transmit_To_ESP32C3(test_array, sizeof(test_array)/sizeof(test_array[0]));
			}

    }
		else
		{//获取消息失败

		}

    //放入消息
    if(osMessageQueuePut(sysDataQueue_AppHandle, &sys_Data_getQueue,0,portMAX_DELAY)==osOK)
    {//放入消息成功
      //BleClearSysData(&sys_Data_getQueue);
    }
		else
		{//放入消息失败

		}

    osDelay(100);
  }
  /* USER CODE END wirelessTask_Entry */
}
